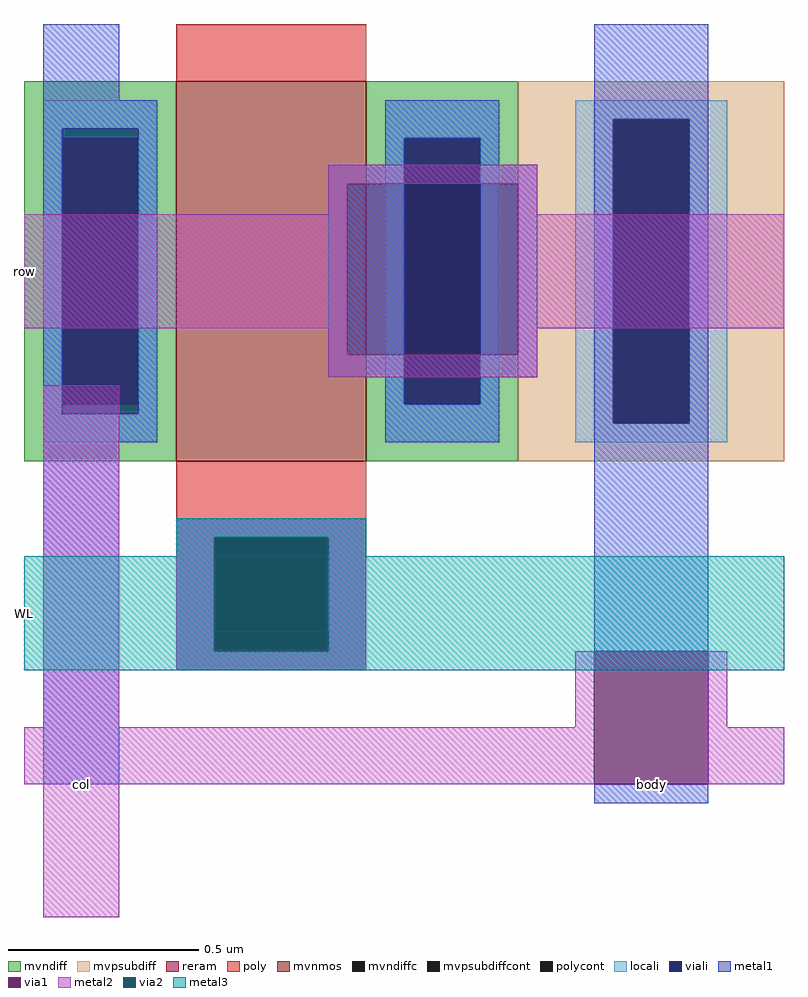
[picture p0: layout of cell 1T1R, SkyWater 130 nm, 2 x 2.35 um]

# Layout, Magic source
magic
tech sky130B
magscale 1 2
<< mvnmos >>
rect 0 0 100 200
<< mvndiff >>
rect -80 170 0 200
rect -80 30 -60 170
rect -20 30 0 170
rect -80 0 0 30
rect 100 170 180 200
rect 100 30 120 170
rect 160 30 180 170
rect 100 0 180 30
<< mvndiffc >>
rect -60 30 -20 170
rect 120 30 160 170
<< mvpsubdiff >>
rect 180 180 320 200
rect 180 20 230 180
rect 270 20 320 180
rect 180 0 320 20
<< mvpsubdiffcont >>
rect 230 20 270 180
<< poly >>
rect 0 200 100 230
rect 0 -50 100 0
rect 0 -90 20 -50
rect 80 -90 100 -50
rect 0 -110 100 -90
<< polycont >>
rect 20 -90 80 -50
<< locali >>
rect -70 175 -10 190
rect -70 25 -60 175
rect -20 25 -10 175
rect -70 10 -10 25
rect 110 170 170 190
rect 110 30 120 170
rect 160 30 170 170
rect 110 10 170 30
rect 210 180 290 190
rect 210 20 230 180
rect 270 20 290 180
rect 210 10 290 20
rect 0 -50 100 -30
rect 0 -90 20 -50
rect 80 -90 100 -50
rect 0 -110 100 -90
<< viali >>
rect -60 170 -20 175
rect -60 30 -20 170
rect -60 25 -20 30
rect 120 30 160 170
rect 230 20 270 180
rect 20 -90 80 -50
<< metal1 >>
rect -70 190 -30 230
rect -70 175 -10 190
rect -70 25 -60 175
rect -20 25 -10 175
rect 110 170 170 190
rect 110 156 120 170
rect 80 44 120 156
rect -70 10 -10 25
rect 110 30 120 44
rect 160 156 170 170
rect 220 180 280 230
rect 160 44 190 156
rect 160 30 170 44
rect 110 10 170 30
rect 220 20 230 180
rect 270 20 280 180
rect -70 -170 -30 10
rect 0 -40 100 -30
rect 0 -100 20 -40
rect 80 -100 100 -40
rect 0 -110 100 -100
rect 220 -100 280 20
rect 220 -180 280 -170
<< via1 >>
rect 20 -50 80 -40
rect 20 -90 80 -50
rect 20 -100 80 -90
rect 220 -170 280 -100
<< reram >>
rect 90 56 180 146
<< metal2 >>
rect 80 146 190 156
rect 80 130 90 146
rect -80 70 90 130
rect 80 56 90 70
rect 180 130 190 146
rect 180 70 320 130
rect 180 56 190 70
rect 80 44 190 56
rect -70 -140 -30 40
rect 0 -40 100 -30
rect 0 -100 20 -40
rect 80 -100 100 -40
rect 0 -110 100 -100
rect 210 -140 220 -100
rect -80 -170 220 -140
rect 280 -140 290 -100
rect 280 -170 320 -140
rect -70 -240 -30 -170
<< via2 >>
rect 20 -100 80 -40
<< metal3 >>
rect 0 -40 100 -30
rect 0 -50 20 -40
rect -80 -100 20 -50
rect 80 -50 100 -40
rect 80 -100 320 -50
rect -80 -110 320 -100
<< labels >>
rlabel metal2 -80 100 -80 100 7 row
port 1 w
rlabel metal1 -50 -170 -50 -170 5 col
port 2 s
rlabel metal3 -80 -80 -80 -80 7 WL
port 3 w
rlabel metal1 250 -170 250 -170 5 body
port 4 s
<< end >>
